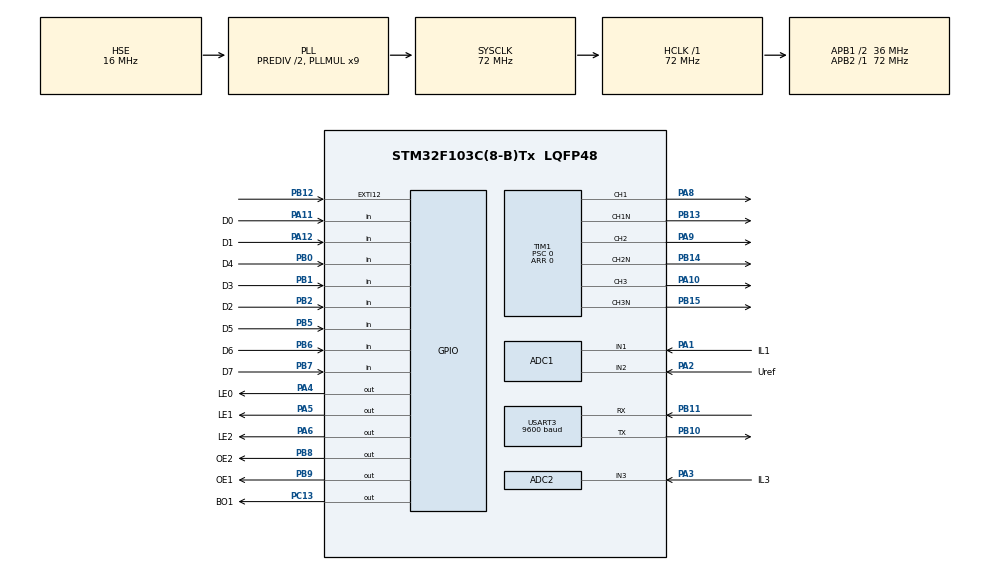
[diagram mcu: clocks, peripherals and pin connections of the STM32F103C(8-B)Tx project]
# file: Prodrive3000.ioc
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ADC1.Channel-0\#ChannelRegularConversion=ADC_CHANNEL_1
ADC1.Channel-1\#ChannelRegularConversion=ADC_CHANNEL_2
ADC1.ContinuousConvMode=DISABLE
ADC1.DataAlign=ADC_DATAALIGN_RIGHT
ADC1.DiscontinuousConvMode=DISABLE
ADC1.EnableAnalogWatchDog=false
ADC1.EnableRegularConversion=ENABLE
ADC1.ExternalTrigConv=ADC_SOFTWARE_START
ADC1.InjNumberOfConversion=0
ADC1.Mode=ADC_DUALMODE_REGSIMULT
ADC1.NbrOfConversion=2
ADC1.NbrOfConversionFlag=1
ADC1.Rank-0\#ChannelRegularConversion=1
ADC1.Rank-1\#ChannelRegularConversion=2
ADC1.SamplingTime-0\#ChannelRegularConversion=ADC_SAMPLETIME_55CYCLES_5
ADC1.SamplingTime-1\#ChannelRegularConversion=ADC_SAMPLETIME_55CYCLES_5
ADC1.ScanConvMode=ADC_SCAN_ENABLE
ADC1.master=1
ADC2.Channel-29\#ChannelRegularConversion=ADC_CHANNEL_3
ADC2.Channel-30\#ChannelRegularConversion=ADC_CHANNEL_3
ADC2.ContinuousConvMode=DISABLE
ADC2.DataAlign=ADC_DATAALIGN_RIGHT
ADC2.DiscontinuousConvMode=DISABLE
ADC2.EnableAnalogWatchDog=false
ADC2.EnableRegularConversion=ENABLE
ADC2.InjNumberOfConversion=0
ADC2.Mode=ADC_DUALMODE_REGSIMULT
ADC2.NbrOfConversion=2
ADC2.NbrOfConversionFlag=1
ADC2.Rank-29\#ChannelRegularConversion=1
ADC2.Rank-30\#ChannelRegularConversion=2
ADC2.SamplingTime-29\#ChannelRegularConversion=ADC_SAMPLETIME_55CYCLES_5
ADC2.SamplingTime-30\#ChannelRegularConversion=ADC_SAMPLETIME_55CYCLES_5
ADC2.ScanConvMode=ADC_SCAN_ENABLE
Dma.ADC1.0.Direction=DMA_PERIPH_TO_MEMORY
Dma.ADC1.0.Instance=DMA1_Channel1
Dma.ADC1.0.MemDataAlignment=DMA_MDATAALIGN_WORD
Dma.ADC1.0.MemInc=DMA_MINC_ENABLE
Dma.ADC1.0.Mode=DMA_CIRCULAR
Dma.ADC1.0.PeriphDataAlignment=DMA_PDATAALIGN_WORD
Dma.ADC1.0.PeriphInc=DMA_PINC_DISABLE
Dma.ADC1.0.Priority=DMA_PRIORITY_HIGH
Dma.Request0=ADC1
Dma.Request1=USART3_RX
Dma.USART3_RX.1.Direction=DMA_PERIPH_TO_MEMORY
Dma.USART3_RX.1.Instance=DMA1_Channel3
Dma.USART3_RX.1.MemDataAlignment=DMA_MDATAALIGN_BYTE
Dma.USART3_RX.1.MemInc=DMA_MINC_ENABLE
Dma.USART3_RX.1.Mode=DMA_CIRCULAR
Dma.USART3_RX.1.PeriphDataAlignment=DMA_PDATAALIGN_BYTE
Dma.USART3_RX.1.PeriphInc=DMA_PINC_DISABLE
Dma.USART3_RX.1.Priority=DMA_PRIORITY_LOW
FREERTOS.BinarySemaphores01=PhaseOverCurrentSem,Dynamic,NULL;PhaseCurrentRiseSem,Dynamic,NULL;DCOverCurrentSem,Dynamic,NULL
FREERTOS.HEAP_NUMBER=1
FREERTOS.INCLUDE_uxTaskPriorityGet=0
FREERTOS.INCLUDE_vTaskDelayUntil=1
FREERTOS.INCLUDE_vTaskDelete=0
FREERTOS.INCLUDE_vTaskPrioritySet=0
FREERTOS.INCLUDE_vTaskSuspend=0
FREERTOS.INCLUDE_xTaskResumeFromISR=0
FREERTOS.Queues01=MotorDataQueue,1,MOTOR_Data,0,Dynamic,NULL,NULL;MotorTargetQueue,1,MOTOR_Target,0,Dynamic,NULL,NULL;CurrentsQueue,1,SENSOR_InstCurrents,0,Dynamic,NULL,NULL;SettingQueue,1,SETTING_Values,0,Dynamic,NULL,NULL;PWMQueue,1,MOTOR_PWMData,0,Dynamic,NULL,NULL;RXDataQueue,1,SENSOR_RXData,0,Dynamic,NULL,NULL
FREERTOS.Tasks01=HmiTask,0,512,Hmi,Default,NULL,Dynamic,NULL,NULL;MotorTask,2,1024,Motor,Default,NULL,Dynamic,NULL,NULL
FREERTOS.configTOTAL_HEAP_SIZE=10000
Mcu.Family=STM32F1
Mcu.Name=STM32F103C(8-B)Tx
Mcu.Package=LQFP48
NVIC.ADC1_2_IRQn=true\:10\:0\:true\:false\:true\:true\:true
NVIC.DMA1_Channel1_IRQn=true\:10\:0\:true\:false\:true\:true\:false
NVIC.DMA1_Channel3_IRQn=true\:5\:0\:false\:false\:true\:true\:false
NVIC.EXTI15_10_IRQn=true\:5\:0\:true\:false\:true\:true\:true
NVIC.PriorityGroup=NVIC_PRIORITYGROUP_4
NVIC.TIM1_UP_IRQn=true\:5\:0\:false\:false\:true\:true\:true
NVIC.TIM2_IRQn=true\:0\:0\:false\:false\:true\:false\:false
NVIC.TIM4_IRQn=true\:10\:0\:true\:false\:true\:true\:true
NVIC.TimeBase=TIM2_IRQn
NVIC.TimeBaseIP=TIM2
NVIC.USART3_IRQn=true\:15\:0\:true\:false\:true\:true\:true
PA1.GPIO_Label=IL1
PA1.Signal=ADCx_IN1
PA10.GPIO_ModeDefaultPP=GPIO_MODE_AF_PP
PA10.GPIO_Speed=GPIO_SPEED_FREQ_HIGH
PA10.Signal=S_TIM1_CH3
PA11.GPIO_Label=D0
PA11.Signal=GPIO_Input
PA12.GPIO_Label=D1
PA12.Signal=GPIO_Input
PA13.Mode=JTAG_5_pins
PA13.Signal=SYS_JTMS-SWDIO
PA14.Mode=JTAG_5_pins
PA14.Signal=SYS_JTCK-SWCLK
PA15.Mode=JTAG_5_pins
PA15.Signal=SYS_JTDI
PA2.GPIO_Label=Uref
PA2.Signal=ADCx_IN2
PA3.GPIO_Label=IL3
PA3.Signal=ADCx_IN3
PA4.GPIO_Label=LE0
PA4.GPIO_ModeDefaultOutputPP=GPIO_MODE_OUTPUT_PP
PA4.Signal=GPIO_Output
PA5.GPIO_Label=LE1
PA5.GPIO_ModeDefaultOutputPP=GPIO_MODE_OUTPUT_PP
PA5.Signal=GPIO_Output
PA6.GPIO_Label=LE2
PA6.GPIO_ModeDefaultOutputPP=GPIO_MODE_OUTPUT_PP
PA6.Signal=GPIO_Output
PA8.GPIO_ModeDefaultPP=GPIO_MODE_AF_PP
PA8.GPIO_Speed=GPIO_SPEED_FREQ_HIGH
PA8.Signal=S_TIM1_CH1
PA9.GPIO_ModeDefaultPP=GPIO_MODE_AF_PP
PA9.GPIO_Speed=GPIO_SPEED_FREQ_HIGH
PA9.Signal=S_TIM1_CH2
PB0.GPIO_Label=D4
PB0.Signal=GPIO_Input
PB1.GPIO_Label=D3
PB1.Signal=GPIO_Input
PB10.Mode=Asynchronous
PB10.Signal=USART3_TX
PB11.Mode=Asynchronous
PB11.Signal=USART3_RX
PB12.GPIO_ModeDefaultEXTI=GPIO_MODE_IT_RISING
PB12.Signal=GPXTI12
PB13.GPIO_ModeDefaultPP=GPIO_MODE_AF_PP
PB13.GPIO_Speed=GPIO_SPEED_FREQ_HIGH
PB13.Mode=PWM Generation1 CH1 CH1N
PB13.Signal=TIM1_CH1N
PB14.GPIO_ModeDefaultPP=GPIO_MODE_AF_PP
PB14.GPIO_Speed=GPIO_SPEED_FREQ_HIGH
PB14.Mode=PWM Generation2 CH2 CH2N
PB14.Signal=TIM1_CH2N
PB15.GPIO_ModeDefaultPP=GPIO_MODE_AF_PP
PB15.GPIO_Speed=GPIO_SPEED_FREQ_HIGH
PB15.Mode=PWM Generation3 CH3 CH3N
PB15.Signal=TIM1_CH3N
PB2.GPIO_Label=D2
PB2.Signal=GPIO_Input
PB3.Mode=JTAG_5_pins
PB3.Signal=SYS_JTDO-TRACESWO
PB4.Mode=JTAG_5_pins
PB4.Signal=SYS_NJTRST
PB5.GPIO_Label=D5
PB5.Signal=GPIO_Input
PB6.GPIO_Label=D6
PB6.Signal=GPIO_Input
PB7.GPIO_Label=D7
PB7.Signal=GPIO_Input
PB8.GPIO_Label=OE2
PB8.GPIO_ModeDefaultOutputPP=GPIO_MODE_OUTPUT_OD
PB8.PinState=GPIO_PIN_SET
PB8.Signal=GPIO_Output
PB9.GPIO_Label=OE1
PB9.GPIO_ModeDefaultOutputPP=GPIO_MODE_OUTPUT_OD
PB9.PinState=GPIO_PIN_SET
PB9.Signal=GPIO_Output
PC13-TAMPER-RTC.GPIO_Label=BO1
PC13-TAMPER-RTC.GPIO_ModeDefaultOutputPP=GPIO_MODE_OUTPUT_OD
PC13-TAMPER-RTC.GPIO_Speed=GPIO_SPEED_FREQ_MEDIUM
PC13-TAMPER-RTC.PinState=GPIO_PIN_SET
PC13-TAMPER-RTC.Signal=GPIO_Output
PD0-OSC_IN.Mode=HSE-External-Oscillator
PD0-OSC_IN.Signal=RCC_OSC_IN
PD1-OSC_OUT.Mode=HSE-External-Oscillator
PD1-OSC_OUT.Signal=RCC_OSC_OUT
ProjectManager.HeapSize=0x200
ProjectManager.StackSize=0x400
ProjectManager.TargetToolchain=TrueSTUDIO
RCC.ADCPresc=RCC_ADCPCLK2_DIV6
RCC.AHBFreq_Value=72000000
RCC.APB1CLKDivider=RCC_HCLK_DIV2
RCC.APB1Freq_Value=36000000
RCC.APB1TimFreq_Value=72000000
RCC.APB2Freq_Value=72000000
RCC.APB2TimFreq_Value=72000000
RCC.EnbaleCSS=true
RCC.HCLKFreq_Value=72000000
RCC.HSEDivPLL=RCC_HSE_PREDIV_DIV2
RCC.HSE_VALUE=16000000
RCC.PLLMUL=RCC_PLL_MUL9
RCC.PLLSourceVirtual=RCC_PLLSOURCE_HSE
RCC.RTCClockSelection=RCC_RTCCLKSOURCE_LSE
RCC.SYSCLKFreq_VALUE=72000000
RCC.SYSCLKSource=RCC_SYSCLKSOURCE_PLLCLK
RCC.USBFreq_Value=72000000
SH.ADCx_IN1.0=ADC1_IN1,IN1
SH.ADCx_IN2.0=ADC1_IN2,IN2
SH.ADCx_IN3.0=ADC2_IN3,IN3
SH.S_TIM1_CH1.0=TIM1_CH1,PWM Generation1 CH1 CH1N
SH.S_TIM1_CH2.0=TIM1_CH2,PWM Generation2 CH2 CH2N
SH.S_TIM1_CH3.0=TIM1_CH3,PWM Generation3 CH3 CH3N
TIM1.AutoReloadPreload=TIM_AUTORELOAD_PRELOAD_DISABLE
TIM1.AutomaticOutput=TIM_AUTOMATICOUTPUT_DISABLE
TIM1.BreakPolarity=TIM_BREAKPOLARITY_HIGH
TIM1.BreakState=TIM_BREAK_DISABLE
TIM1.Channel-PWM\ Generation1\ CH1\ CH1N=TIM_CHANNEL_1
TIM1.Channel-PWM\ Generation2\ CH2\ CH2N=TIM_CHANNEL_2
TIM1.Channel-PWM\ Generation3\ CH3\ CH3N=TIM_CHANNEL_3
TIM1.ClockDivision=TIM_CLOCKDIVISION_DIV1
TIM1.CounterMode=TIM_COUNTERMODE_CENTERALIGNED3
TIM1.DeadTime=72
TIM1.OCIdleState_1=TIM_OCIDLESTATE_RESET
TIM1.OCIdleState_2=TIM_OCIDLESTATE_RESET
TIM1.OCIdleState_3=TIM_OCIDLESTATE_RESET
TIM1.OCNIdleState_1=TIM_OCNIDLESTATE_RESET
TIM1.OCNIdleState_2=TIM_OCNIDLESTATE_RESET
TIM1.OCNIdleState_3=TIM_OCNIDLESTATE_RESET
TIM1.OCNPolarity_1=TIM_OCNPOLARITY_LOW
TIM1.OCNPolarity_2=TIM_OCNPOLARITY_LOW
TIM1.OCNPolarity_3=TIM_OCNPOLARITY_LOW
TIM1.OCPolarity_1=TIM_OCPOLARITY_LOW
TIM1.OCPolarity_2=TIM_OCPOLARITY_LOW
TIM1.OCPolarity_3=TIM_OCPOLARITY_LOW
TIM1.OffStateIDLEMode=TIM_OSSI_DISABLE
TIM1.OffStateRunMode=TIM_OSSR_DISABLE
TIM1.Period=0
TIM1.Prescaler=0
TIM1.Pulse-PWM\ Generation1\ CH1\ CH1N=0
TIM1.Pulse-PWM\ Generation2\ CH2\ CH2N=0
TIM1.Pulse-PWM\ Generation3\ CH3\ CH3N=0
TIM1.RepetitionCounter=1
TIM1.TIM_MasterOutputTrigger=TIM_TRGO_RESET
TIM4.Period=0
TIM4.Prescaler=0
TIM4.TIM_MasterOutputTrigger=TIM_TRGO_RESET
USART3.BaudRate=9600
USART3.Mode=MODE_RX
USART3.Parity=PARITY_NONE
USART3.VirtualMode=VM_ASYNC
USART3.WordLength=WORDLENGTH_8B
VP_FREERTOS_VS_ENABLE.Mode=Enabled
VP_SYS_VS_tim2.Mode=TIM2
VP_TIM1_VS_ClockSourceINT.Mode=Internal
VP_TIM4_VS_ClockSourceINT.Mode=Internal
board=custom

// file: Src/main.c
/**
  ******************************************************************************
  * @file           : main.c
  * @brief          : Main program body
  ******************************************************************************
  * This notice applies to any and all portions of this file
  * that are not between comment pairs USER CODE BEGIN and
  * USER CODE END. Other portions of this file, whether
  * inserted by the user or by software development tools
  * are owned by their respective copyright owners.
  *
  * Copyright (c) 2020 STMicroelectronics International N.V.
  * All rights reserved.
  *
  * Redistribution and use in source and binary forms, with or without
  * modification, are permitted, provided that the following conditions are met:
  *
  * 1. Redistribution of source code must retain the above copyright notice,
  *    this list of conditions and the following disclaimer.
  * 2. Redistributions in binary form must reproduce the above copyright notice,
  *    this list of conditions and the following disclaimer in the documentation
  *    and/or other materials provided with the distribution.
  * 3. Neither the name of STMicroelectronics nor the names of other
  *    contributors to this software may be used to endorse or promote products
  *    derived from this software without specific written permission.
  * 4. This software, including modifications and/or derivative works of this
  *    software, must execute solely and exclusively on microcontroller or
  *    microprocessor devices manufactured by or for STMicroelectronics.
  * 5. Redistribution and use of this software other than as permitted under
  *    this license is void and will automatically terminate your rights under
  *    this license.
  *
  * THIS SOFTWARE IS PROVIDED BY STMICROELECTRONICS AND CONTRIBUTORS "AS IS"
  * AND ANY EXPRESS, IMPLIED OR STATUTORY WARRANTIES, INCLUDING, BUT NOT
  * LIMITED TO, THE IMPLIED WARRANTIES OF MERCHANTABILITY, FITNESS FOR A
  * PARTICULAR PURPOSE AND NON-INFRINGEMENT OF THIRD PARTY INTELLECTUAL PROPERTY
  * RIGHTS ARE DISCLAIMED TO THE FULLEST EXTENT PERMITTED BY LAW. IN NO EVENT
  * SHALL STMICROELECTRONICS OR CONTRIBUTORS BE LIABLE FOR ANY DIRECT, INDIRECT,
  * INCIDENTAL, SPECIAL, EXEMPLARY, OR CONSEQUENTIAL DAMAGES (INCLUDING, BUT NOT
  * LIMITED TO, PROCUREMENT OF SUBSTITUTE GOODS OR SERVICES; LOSS OF USE, DATA,
  * OR PROFITS; OR BUSINESS INTERRUPTION) HOWEVER CAUSED AND ON ANY THEORY OF
  * LIABILITY, WHETHER IN CONTRACT, STRICT LIABILITY, OR TORT (INCLUDING
  * NEGLIGENCE OR OTHERWISE) ARISING IN ANY WAY OUT OF THE USE OF THIS SOFTWARE,
  * EVEN IF ADVISED OF THE POSSIBILITY OF SUCH DAMAGE.
  *
  ******************************************************************************
  */
#include "main.h"
#include "stm32f1xx_hal.h"
#include "cmsis_os.h"

/* USER CODE BEGIN Includes */

#include "period_config.h"
#include "input.h"
#include "button.h"
#include "encoder.h"
#include "hmi.h"
#include "display.h"
#include "motor.h"
#include "protection.h"

/* USER CODE END Includes */

ADC_HandleTypeDef hadc1;
ADC_HandleTypeDef hadc2;
DMA_HandleTypeDef hdma_adc1;

TIM_HandleTypeDef htim1;
TIM_HandleTypeDef htim4;

UART_HandleTypeDef huart3;
DMA_HandleTypeDef hdma_usart3_rx;

osThreadId HmiTaskHandle;
osThreadId MotorTaskHandle;
osMessageQId MotorDataQueueHandle;
osMessageQId MotorTargetQueueHandle;
osMessageQId CurrentsQueueHandle;
osMessageQId SettingQueueHandle;
osMessageQId PWMQueueHandle;
osMessageQId RXDataQueueHandle;
osSemaphoreId PhaseOverCurrentSemHandle;
osSemaphoreId PhaseCurrentRiseSemHandle;
osSemaphoreId DCOverCurrentSemHandle;

/* USER CODE BEGIN PV */
/* Private variables ---------------------------------------------------------*/

/* Variables for current measure */
uint32_t glCurrentsSendingCnt = 0;
uint32_t const glCurrentsSendingPeriod = PERIOD_CONF_CURRENTS_SENDING_MS;
SENSOR_ADCvalues glADCvalues;
SENSOR_CurrentsStruct glCurrents;
SENSOR_InstCurrents glInstCurrents;
uint16_t glUpperThrdIL1 = 1;
uint16_t glUpperThrdIL3 = 1;

/* Variables for USART */
SENSOR_RXData glRXData;

/* Variables for PWM algorithm */
uint8_t glSectorNumber = 1;
float gltheta1 = 0;

/************************************** TEMP VARIABLES **************************************/
SENSOR_Values glSensorValues;
PROTECTION_Counters glProtCounters;
PROTECTION_ThermalData glThermalData;

MOTOR_State glMotorState;
MOTOR_PWMData glPWMData;

/********************************************************************************************/

/* USER CODE END PV */

void SystemClock_Config(void);
static void MX_GPIO_Init(void);
static void MX_DMA_Init(void);
static void MX_ADC1_Init(void);
static void MX_USART3_UART_Init(void);
static void MX_TIM1_Init(void);
static void MX_ADC2_Init(void);
static void MX_TIM4_Init(void);
void Hmi(void const * argument);
void Motor(void const * argument);

void HAL_TIM_MspPostInit(TIM_HandleTypeDef *htim);

/* USER CODE BEGIN PFP */
/* Private function prototypes -----------------------------------------------*/

/* External interrupt line detection callback */
void HAL_GPIO_EXTI_Callback(uint16_t GPIO_Pin);

/* ADC conversion complete callback in non blocking mode */
void HAL_ADC_ConvCpltCallback(ADC_HandleTypeDef* hadc);

/* Period elapsed callback in non blocking mode */
void HAL_TIM_PeriodElapsedCallback(TIM_HandleTypeDef *htim);

/*Rx Transfer completed callback */
void HAL_UART_RxCpltCallback(UART_HandleTypeDef *huart);

/* UART error callback */
void HAL_UART_ErrorCallback(UART_HandleTypeDef *huart);

/* USER CODE END PFP */

int main(void)
{

  /* MCU Configuration----------------------------------------------------------*/

  /* Reset of all peripherals, Initializes the Flash interface and the Systick. */
  HAL_Init();

  /* Configure the system clock */
  SystemClock_Config();

  /* Initialize all configured peripherals */
  MX_GPIO_Init();
  MX_DMA_Init();
  MX_ADC1_Init();
  MX_USART3_UART_Init();
  MX_TIM1_Init();
  MX_ADC2_Init();
  MX_TIM4_Init();

  /* Create the semaphores(s) */
  /* definition and creation of PhaseOverCurrentSem */
  osSemaphoreDef(PhaseOverCurrentSem);
  PhaseOverCurrentSemHandle = osSemaphoreCreate(osSemaphore(PhaseOverCurrentSem), 1);

  /* definition and creation of PhaseCurrentRiseSem */
  osSemaphoreDef(PhaseCurrentRiseSem);
  PhaseCurrentRiseSemHandle = osSemaphoreCreate(osSemaphore(PhaseCurrentRiseSem), 1);

  /* definition and creation of DCOverCurrentSem */
  osSemaphoreDef(DCOverCurrentSem);
  DCOverCurrentSemHandle = osSemaphoreCreate(osSemaphore(DCOverCurrentSem), 1);

  /* Create the thread(s) */
  /* definition and creation of HmiTask */
  osThreadDef(HmiTask, Hmi, osPriorityNormal, 0, 512);
  HmiTaskHandle = osThreadCreate(osThread(HmiTask), NULL);

  /* definition and creation of MotorTask */
  osThreadDef(MotorTask, Motor, osPriorityHigh, 0, 1024);
  MotorTaskHandle = osThreadCreate(osThread(MotorTask), NULL);

  /* Create the queue(s) */
  /* definition and creation of MotorDataQueue */
/* what about the sizeof here??? cd native code */
  osMessageQDef(MotorDataQueue, 1, MOTOR_Data);
  MotorDataQueueHandle = osMessageCreate(osMessageQ(MotorDataQueue), NULL);

  /* definition and creation of MotorTargetQueue */
/* what about the sizeof here??? cd native code */
  osMessageQDef(MotorTargetQueue, 1, MOTOR_Target);
  MotorTargetQueueHandle = osMessageCreate(osMessageQ(MotorTargetQueue), NULL);

  /* definition and creation of CurrentsQueue */
/* what about the sizeof here??? cd native code */
  osMessageQDef(CurrentsQueue, 1, SENSOR_InstCurrents);
  CurrentsQueueHandle = osMessageCreate(osMessageQ(CurrentsQueue), NULL);

  /* definition and creation of SettingQueue */
/* what about the sizeof here??? cd native code */
  osMessageQDef(SettingQueue, 1, SETTING_Values);
  SettingQueueHandle = osMessageCreate(osMessageQ(SettingQueue), NULL);

  /* definition and creation of PWMQueue */
/* what about the sizeof here??? cd native code */
  osMessageQDef(PWMQueue, 1, MOTOR_PWMData);
  PWMQueueHandle = osMessageCreate(osMessageQ(PWMQueue), NULL);

  /* definition and creation of RXDataQueue */
/* what about the sizeof here??? cd native code */
  osMessageQDef(RXDataQueue, 1, SENSOR_RXData);
  RXDataQueueHandle = osMessageCreate(osMessageQ(RXDataQueue), NULL);

  /* Start scheduler */
  osKernelStart();

  /* We should never get here as control is now taken by the scheduler */

  /* Infinite loop */
  while (1)
  {

  }

}

void SystemClock_Config(void)
{

  RCC_OscInitTypeDef RCC_OscInitStruct;
  RCC_ClkInitTypeDef RCC_ClkInitStruct;
  RCC_PeriphCLKInitTypeDef PeriphClkInit;

    /**Initializes the CPU, AHB and APB busses clocks
    */
  RCC_OscInitStruct.OscillatorType = RCC_OSCILLATORTYPE_HSE;
  RCC_OscInitStruct.HSEState = RCC_HSE_ON;
  RCC_OscInitStruct.HSEPredivValue = RCC_HSE_PREDIV_DIV2;
  RCC_OscInitStruct.HSIState = RCC_HSI_ON;
  RCC_OscInitStruct.PLL.PLLState = RCC_PLL_ON;
  RCC_OscInitStruct.PLL.PLLSource = RCC_PLLSOURCE_HSE;
  RCC_OscInitStruct.PLL.PLLMUL = RCC_PLL_MUL9;
  if (HAL_RCC_OscConfig(&RCC_OscInitStruct) != HAL_OK)
  {
    _Error_Handler(__FILE__, __LINE__);
  }

    /**Initializes the CPU, AHB and APB busses clocks
    */
  RCC_ClkInitStruct.ClockType = RCC_CLOCKTYPE_HCLK|RCC_CLOCKTYPE_SYSCLK
                              |RCC_CLOCKTYPE_PCLK1|RCC_CLOCKTYPE_PCLK2;
  RCC_ClkInitStruct.SYSCLKSource = RCC_SYSCLKSOURCE_PLLCLK;
  RCC_ClkInitStruct.AHBCLKDivider = RCC_SYSCLK_DIV1;
  RCC_ClkInitStruct.APB1CLKDivider = RCC_HCLK_DIV2;
  RCC_ClkInitStruct.APB2CLKDivider = RCC_HCLK_DIV1;

  if (HAL_RCC_ClockConfig(&RCC_ClkInitStruct, FLASH_LATENCY_2) != HAL_OK)
  {
    _Error_Handler(__FILE__, __LINE__);
  }

  PeriphClkInit.PeriphClockSelection = RCC_PERIPHCLK_ADC;
  PeriphClkInit.AdcClockSelection = RCC_ADCPCLK2_DIV6;
  if (HAL_RCCEx_PeriphCLKConfig(&PeriphClkInit) != HAL_OK)
  {
    _Error_Handler(__FILE__, __LINE__);
  }

    /**Enables the Clock Security System
    */
  HAL_RCC_EnableCSS();

    /**Configure the Systick interrupt time
    */
  HAL_SYSTICK_Config(HAL_RCC_GetHCLKFreq()/1000);

    /**Configure the Systick
    */
  HAL_SYSTICK_CLKSourceConfig(SYSTICK_CLKSOURCE_HCLK);

  /* SysTick_IRQn interrupt configuration */
  HAL_NVIC_SetPriority(SysTick_IRQn, 15, 0);
}

/* ADC1 init function */
static void MX_ADC1_Init(void)
{

  ADC_MultiModeTypeDef multimode;
  ADC_ChannelConfTypeDef sConfig;

    /**Common config
    */
  hadc1.Instance = ADC1;
  hadc1.Init.ScanConvMode = ADC_SCAN_ENABLE;
  hadc1.Init.ContinuousConvMode = DISABLE;
  hadc1.Init.DiscontinuousConvMode = DISABLE;
  hadc1.Init.ExternalTrigConv = ADC_SOFTWARE_START;
  hadc1.Init.DataAlign = ADC_DATAALIGN_RIGHT;
  hadc1.Init.NbrOfConversion = 2;
  if (HAL_ADC_Init(&hadc1) != HAL_OK)
  {
    _Error_Handler(__FILE__, __LINE__);
  }

    /**Configure the ADC multi-mode
    */
  multimode.Mode = ADC_DUALMODE_REGSIMULT;
  if (HAL_ADCEx_MultiModeConfigChannel(&hadc1, &multimode) != HAL_OK)
  {
    _Error_Handler(__FILE__, __LINE__);
  }

    /**Configure Regular Channel
    */
  sConfig.Channel = ADC_CHANNEL_1;
  sConfig.Rank = ADC_REGULAR_RANK_1;
  sConfig.SamplingTime = ADC_SAMPLETIME_55CYCLES_5;
  if (HAL_ADC_ConfigChannel(&hadc1, &sConfig) != HAL_OK)
  {
    _Error_Handler(__FILE__, __LINE__);
  }

    /**Configure Regular Channel
    */
  sConfig.Channel = ADC_CHANNEL_2;
  sConfig.Rank = ADC_REGULAR_RANK_2;
  if (HAL_ADC_ConfigChannel(&hadc1, &sConfig) != HAL_OK)
  {
    _Error_Handler(__FILE__, __LINE__);
  }

}

/* ADC2 init function */
static void MX_ADC2_Init(void)
{

  ADC_ChannelConfTypeDef sConfig;

    /**Common config
    */
  hadc2.Instance = ADC2;
  hadc2.Init.ScanConvMode = ADC_SCAN_ENABLE;
  hadc2.Init.ContinuousConvMode = DISABLE;
  hadc2.Init.DiscontinuousConvMode = DISABLE;
  hadc2.Init.ExternalTrigConv = ADC_SOFTWARE_START;
  hadc2.Init.DataAlign = ADC_DATAALIGN_RIGHT;
  hadc2.Init.NbrOfConversion = 2;
  if (HAL_ADC_Init(&hadc2) != HAL_OK)
  {
    _Error_Handler(__FILE__, __LINE__);
  }

    /**Configure Regular Channel
    */
  sConfig.Channel = ADC_CHANNEL_3;
  sConfig.Rank = ADC_REGULAR_RANK_1;
  sConfig.SamplingTime = ADC_SAMPLETIME_55CYCLES_5;
  if (HAL_ADC_ConfigChannel(&hadc2, &sConfig) != HAL_OK)
  {
    _Error_Handler(__FILE__, __LINE__);
  }

    /**Configure Regular Channel
    */
  sConfig.Rank = ADC_REGULAR_RANK_2;
  if (HAL_ADC_ConfigChannel(&hadc2, &sConfig) != HAL_OK)
  {
    _Error_Handler(__FILE__, __LINE__);
  }

}

/* TIM1 init function */
static void MX_TIM1_Init(void)
{

  TIM_ClockConfigTypeDef sClockSourceConfig;
  TIM_MasterConfigTypeDef sMasterConfig;
  TIM_OC_InitTypeDef sConfigOC;
  TIM_BreakDeadTimeConfigTypeDef sBreakDeadTimeConfig;

  htim1.Instance = TIM1;
  htim1.Init.Prescaler = 0;
  htim1.Init.CounterMode = TIM_COUNTERMODE_CENTERALIGNED3;
  htim1.Init.Period = 0;
  htim1.Init.ClockDivision = TIM_CLOCKDIVISION_DIV1;
  htim1.Init.RepetitionCounter = 1;
  htim1.Init.AutoReloadPreload = TIM_AUTORELOAD_PRELOAD_DISABLE;
  if (HAL_TIM_Base_Init(&htim1) != HAL_OK)
  {
    _Error_Handler(__FILE__, __LINE__);
  }

  sClockSourceConfig.ClockSource = TIM_CLOCKSOURCE_INTERNAL;
  if (HAL_TIM_ConfigClockSource(&htim1, &sClockSourceConfig) != HAL_OK)
  {
    _Error_Handler(__FILE__, __LINE__);
  }

  if (HAL_TIM_PWM_Init(&htim1) != HAL_OK)
  {
    _Error_Handler(__FILE__, __LINE__);
  }

  sMasterConfig.MasterOutputTrigger = TIM_TRGO_RESET;
  sMasterConfig.MasterSlaveMode = TIM_MASTERSLAVEMODE_DISABLE;
  if (HAL_TIMEx_MasterConfigSynchronization(&htim1, &sMasterConfig) != HAL_OK)
  {
    _Error_Handler(__FILE__, __LINE__);
  }

  sConfigOC.OCMode = TIM_OCMODE_PWM1;
  sConfigOC.Pulse = 0;
  sConfigOC.OCPolarity = TIM_OCPOLARITY_LOW;
  sConfigOC.OCNPolarity = TIM_OCNPOLARITY_LOW;
  sConfigOC.OCFastMode = TIM_OCFAST_DISABLE;
  sConfigOC.OCIdleState = TIM_OCIDLESTATE_RESET;
  sConfigOC.OCNIdleState = TIM_OCNIDLESTATE_RESET;
  if (HAL_TIM_PWM_ConfigChannel(&htim1, &sConfigOC, TIM_CHANNEL_1) != HAL_OK)
  {
    _Error_Handler(__FILE__, __LINE__);
  }

  if (HAL_TIM_PWM_ConfigChannel(&htim1, &sConfigOC, TIM_CHANNEL_2) != HAL_OK)
  {
    _Error_Handler(__FILE__, __LINE__);
  }

  if (HAL_TIM_PWM_ConfigChannel(&htim1, &sConfigOC, TIM_CHANNEL_3) != HAL_OK)
  {
    _Error_Handler(__FILE__, __LINE__);
  }

  sBreakDeadTimeConfig.OffStateRunMode = TIM_OSSR_DISABLE;
  sBreakDeadTimeConfig.OffStateIDLEMode = TIM_OSSI_DISABLE;
  sBreakDeadTimeConfig.LockLevel = TIM_LOCKLEVEL_OFF;
  sBreakDeadTimeConfig.DeadTime = 72;
  sBreakDeadTimeConfig.BreakState = TIM_BREAK_DISABLE;
  sBreakDeadTimeConfig.BreakPolarity = TIM_BREAKPOLARITY_HIGH;
  sBreakDeadTimeConfig.AutomaticOutput = TIM_AUTOMATICOUTPUT_DISABLE;
  if (HAL_TIMEx_ConfigBreakDeadTime(&htim1, &sBreakDeadTimeConfig) != HAL_OK)
  {
    _Error_Handler(__FILE__, __LINE__);
  }

  HAL_TIM_MspPostInit(&htim1);

}

/* TIM4 init function */
static void MX_TIM4_Init(void)
{

  TIM_ClockConfigTypeDef sClockSourceConfig;
  TIM_MasterConfigTypeDef sMasterConfig;

  htim4.Instance = TIM4;
  htim4.Init.Prescaler = 0;
  htim4.Init.CounterMode = TIM_COUNTERMODE_UP;
  htim4.Init.Period = 0;
  htim4.Init.ClockDivision = TIM_CLOCKDIVISION_DIV1;
  htim4.Init.AutoReloadPreload = TIM_AUTORELOAD_PRELOAD_DISABLE;
  if (HAL_TIM_Base_Init(&htim4) != HAL_OK)
  {
    _Error_Handler(__FILE__, __LINE__);
  }

  sClockSourceConfig.ClockSource = TIM_CLOCKSOURCE_INTERNAL;
  if (HAL_TIM_ConfigClockSource(&htim4, &sClockSourceConfig) != HAL_OK)
  {
    _Error_Handler(__FILE__, __LINE__);
  }

  sMasterConfig.MasterOutputTrigger = TIM_TRGO_RESET;
  sMasterConfig.MasterSlaveMode = TIM_MASTERSLAVEMODE_DISABLE;
  if (HAL_TIMEx_MasterConfigSynchronization(&htim4, &sMasterConfig) != HAL_OK)
  {
    _Error_Handler(__FILE__, __LINE__);
  }

}

/* USART3 init function */
static void MX_USART3_UART_Init(void)
{

  huart3.Instance = USART3;
  huart3.Init.BaudRate = 9600;
  huart3.Init.WordLength = UART_WORDLENGTH_8B;
  huart3.Init.StopBits = UART_STOPBITS_1;
  huart3.Init.Parity = UART_PARITY_NONE;
  huart3.Init.Mode = UART_MODE_RX;
  huart3.Init.HwFlowCtl = UART_HWCONTROL_NONE;
  huart3.Init.OverSampling = UART_OVERSAMPLING_16;
  if (HAL_UART_Init(&huart3) != HAL_OK)
  {
    _Error_Handler(__FILE__, __LINE__);
  }

}

static void MX_DMA_Init(void)
{
  /* DMA controller clock enable */
  __HAL_RCC_DMA1_CLK_ENABLE();

  /* DMA interrupt init */
  /* DMA1_Channel1_IRQn interrupt configuration */
  HAL_NVIC_SetPriority(DMA1_Channel1_IRQn, 10, 0);
  HAL_NVIC_EnableIRQ(DMA1_Channel1_IRQn);
  /* DMA1_Channel3_IRQn interrupt configuration */
  HAL_NVIC_SetPriority(DMA1_Channel3_IRQn, 5, 0);
  HAL_NVIC_EnableIRQ(DMA1_Channel3_IRQn);

}

/** Configure pins as
        * Analog
        * Input
        * Output
        * EVENT_OUT
        * EXTI
*/
static void MX_GPIO_Init(void)
{

  GPIO_InitTypeDef GPIO_InitStruct;

  /* GPIO Ports Clock Enable */
  __HAL_RCC_GPIOC_CLK_ENABLE();
  __HAL_RCC_GPIOD_CLK_ENABLE();
  __HAL_RCC_GPIOA_CLK_ENABLE();
  __HAL_RCC_GPIOB_CLK_ENABLE();

  /*Configure GPIO pin Output Level */
  HAL_GPIO_WritePin(BO1_GPIO_Port, BO1_Pin, GPIO_PIN_SET);

  /*Configure GPIO pin Output Level */
  HAL_GPIO_WritePin(GPIOA, LE0_Pin|LE1_Pin|LE2_Pin, GPIO_PIN_RESET);

  /*Configure GPIO pin Output Level */
  HAL_GPIO_WritePin(GPIOB, OE2_Pin|OE1_Pin, GPIO_PIN_SET);

  /*Configure GPIO pin : BO1_Pin */
  GPIO_InitStruct.Pin = BO1_Pin;
  GPIO_InitStruct.Mode = GPIO_MODE_OUTPUT_OD;
  GPIO_InitStruct.Pull = GPIO_NOPULL;
  GPIO_InitStruct.Speed = GPIO_SPEED_FREQ_MEDIUM;
  HAL_GPIO_Init(BO1_GPIO_Port, &GPIO_InitStruct);

  /*Configure GPIO pins : LE0_Pin LE1_Pin LE2_Pin */
  GPIO_InitStruct.Pin = LE0_Pin|LE1_Pin|LE2_Pin;
  GPIO_InitStruct.Mode = GPIO_MODE_OUTPUT_PP;
  GPIO_InitStruct.Pull = GPIO_NOPULL;
  GPIO_InitStruct.Speed = GPIO_SPEED_FREQ_LOW;
  HAL_GPIO_Init(GPIOA, &GPIO_InitStruct);

  /*Configure GPIO pins : D4_Pin D3_Pin D2_Pin D5_Pin
                           D6_Pin D7_Pin */
  GPIO_InitStruct.Pin = D4_Pin|D3_Pin|D2_Pin|D5_Pin
                          |D6_Pin|D7_Pin;
  GPIO_InitStruct.Mode = GPIO_MODE_INPUT;
  GPIO_InitStruct.Pull = GPIO_NOPULL;
  HAL_GPIO_Init(GPIOB, &GPIO_InitStruct);

  /*Configure GPIO pin : PB12 */
  GPIO_InitStruct.Pin = GPIO_PIN_12;
  GPIO_InitStruct.Mode = GPIO_MODE_IT_RISING;
  GPIO_InitStruct.Pull = GPIO_NOPULL;
  HAL_GPIO_Init(GPIOB, &GPIO_InitStruct);

  /*Configure GPIO pins : D0_Pin D1_Pin */
  GPIO_InitStruct.Pin = D0_Pin|D1_Pin;
  GPIO_InitStruct.Mode = GPIO_MODE_INPUT;
  GPIO_InitStruct.Pull = GPIO_NOPULL;
  HAL_GPIO_Init(GPIOA, &GPIO_InitStruct);

  /*Configure GPIO pins : OE2_Pin OE1_Pin */
  GPIO_InitStruct.Pin = OE2_Pin|OE1_Pin;
  GPIO_InitStruct.Mode = GPIO_MODE_OUTPUT_OD;
  GPIO_InitStruct.Pull = GPIO_NOPULL;
  GPIO_InitStruct.Speed = GPIO_SPEED_FREQ_LOW;
  HAL_GPIO_Init(GPIOB, &GPIO_InitStruct);

  /* EXTI interrupt init*/
  HAL_NVIC_SetPriority(EXTI15_10_IRQn, 5, 0);
  HAL_NVIC_EnableIRQ(EXTI15_10_IRQn);

}

/* USER CODE BEGIN 4 */

void HAL_GPIO_EXTI_Callback(uint16_t GPIO_Pin)
{
	/* Private variables */
	static portBASE_TYPE xHigherPriorityTaskWoken;
	xHigherPriorityTaskWoken = pdFALSE;

	/* External over current protection */
	/* If interrupt from pin 12 */
	if (GPIO_Pin == GPIO_PIN_12)
	{

		/* Stop modulator and give over current semaphore */
		//////////////////////////////////////////////////////////////////////////////////////////////////////////////////////MOTOR_StopPWM(&htim1);
		//////////////////////////////////////////////////////////////////////////////////////////////////////////////////////xSemaphoreGiveFromISR(DCOverCurrentSemHandle, &xHigherPriorityTaskWoken);

	}
}

void HAL_ADC_ConvCpltCallback(ADC_HandleTypeDef* hadc)
{
	/* Private variables */
	static portBASE_TYPE xHigherPriorityTaskWoken;
	xHigherPriorityTaskWoken = pdFALSE;

	PROTECTION_State ProtectionState1 = PROTECTION_TRIPPED, ProtectionState2 = PROTECTION_TRIPPED, ProtectionState3 = PROTECTION_TRIPPED, ProtectionState4 = PROTECTION_TRIPPED;

	/* If ADC1 conversion complete */
	if (hadc->Instance == ADC1)
	{
		/* Stop ADC */
		SENSOR_StopADC(&hadc1, &hadc2);

		/* Calculate instantaneous currents */
		SENSOR_CalculateInstCurrents(&glADCvalues, &glCurrents);

		/* Perform over current protection function for phase L1 and L3 */
		ProtectionState1 = PROTECTION_OverCurrent(glCurrents.currIL1, glUpperThrdIL1);
		ProtectionState2 = PROTECTION_OverCurrent(glCurrents.currIL3, glUpperThrdIL3);

		/* If protection tripped */
		if ((ProtectionState1 == PROTECTION_TRIPPED) || (ProtectionState2 == PROTECTION_TRIPPED))
		{
			/* Stop PWM and give semaphore */
			MOTOR_StopPWM(&htim1);
			xSemaphoreGiveFromISR(PhaseOverCurrentSemHandle, &xHigherPriorityTaskWoken);
		}
		else
		{
			/* Perform current rise protection function for phase L1 and L3 */
			ProtectionState3 = PROTECTION_CurrentRise(glCurrents.currIL1, glCurrents.prevIL1, PROT_CONF_CURRENT_RISE_LIMIT);
			ProtectionState4 = PROTECTION_CurrentRise(glCurrents.currIL3, glCurrents.prevIL3, PROT_CONF_CURRENT_RISE_LIMIT);

			/* If protection tripped */
			if ((ProtectionState3 == PROTECTION_TRIPPED) || (ProtectionState4 == PROTECTION_TRIPPED))
			{
				/* Stop PWM and give semaphore */
				MOTOR_StopPWM(&htim1);
				xSemaphoreGiveFromISR(PhaseCurrentRiseSemHandle, &xHigherPriorityTaskWoken);
			}
			else
			{
				/* Shift instantaneous currents buffer */
				for (uint16_t i = 0; i < (SENSOR_INST_CURR_BUFFER_SIZE - 1); i ++)
				{
					glInstCurrents.bufferIL1[i] = glInstCurrents.bufferIL1[i + 1];
					glInstCurrents.bufferIL3[i] = glInstCurrents.bufferIL3[i + 1];
				}

				/* Fill in last buffers element */
				glInstCurrents.Status = glCurrents.Status;
				glInstCurrents.bufferIL1[SENSOR_INST_CURR_BUFFER_SIZE - 1] = glCurrents.currIL1;
				glInstCurrents.bufferIL3[SENSOR_INST_CURR_BUFFER_SIZE - 1] = glCurrents.currIL3;

				/* If currents sending time has elapsed */
				if (glCurrentsSendingCnt >= glCurrentsSendingPeriod)
				{
					/* Send instantaneous currents to the queue */
					xQueueOverwriteFromISR(CurrentsQueueHandle, &glInstCurrents, &xHigherPriorityTaskWoken);

					glCurrentsSendingCnt = 0;
				}
				else glCurrentsSendingCnt ++;
			}
		}
	}
}

void HAL_UART_RxCpltCallback(UART_HandleTypeDef *huart)
{
	/* Private variables */
	static portBASE_TYPE xHigherPriorityTaskWoken;
	xHigherPriorityTaskWoken = pdFALSE;

	/* Send RXData to the queue */
	xQueueOverwriteFromISR(RXDataQueueHandle, &glRXData, &xHigherPriorityTaskWoken);
}

void HAL_UART_ErrorCallback(UART_HandleTypeDef *huart)
{
	/* Enable UART again */
	HAL_UART_Receive_DMA(&huart3, (uint8_t *)&glRXData, 5);
}

/* USER CODE END 4 */

/* Hmi function */
void Hmi(void const * argument)
{

  /* USER CODE BEGIN 5 */

	/* Create variable needed for the system function vTaskDelayUntil() */
	portTickType xLastWakeTime;

	/* Create private variables */
	portBASE_TYPE xMotorStateQueueStatus;
	INPUT_States InputStates;
	BUTTON_States ButtonStates;
	BUTTON_Counters ButtonCounters;
	BUTTON_Settings ButtonSettings;
	BUTTON_SafetyState SafetyState = BUTTON_SAFETY_RELEASED;
	BUTTON_LimitState FwdLimitState = BUTTON_LIMIT_RELEASED, RevLimitState = BUTTON_LIMIT_RELEASED;
	BUTTON_Direction ButtonDirection = BUTTON_FORWARD;
	BUTTON_Command ButtonCommand;
	BUTTON_Status ButtonStatus = BUTTON_NOT_CHANGED;
	ENCODER_Data EncoderData;
	ENCODER_Command EncoderCommand;
	ENCODER_Status EncoderStatus = ENCODER_NOT_CHANGED;
	MOTOR_Data MotorData;
	MOTOR_Target MotorTarget;
	SETTING_Values SettingValues;
	HMI_Status HMIStatus;
	RELAY_Data RelayData;

	/* Clear screen */
	DISPLAY_ShowEmptyScreen();

	/* Load settings */
	SETTING_Load(&SettingValues);

	/* Initialize buttons and encoder */
	BUTTON_Init(&ButtonStates, &ButtonCounters, &ButtonSettings, &InputStates, &SettingValues);
	ENCODER_Init(&EncoderData, &InputStates);

	/* Initialize HMI */
	HMI_Init(&HMIStatus, &SettingValues, &MotorTarget);

	/* Initialize relay */
	RELAY_Init(&RelayData, &SettingValues, PERIOD_CONF_HMI_TASK_MS);

	/* Send setting values to the queue */
	xQueueOverwrite(SettingQueueHandle, &SettingValues);

	/* Send motor target to the queue */
	xQueueOverwrite(MotorTargetQueueHandle, &MotorTarget);

	/* Wait for the main board to load */
	osDelay(5000);

	/* !!!!! Start of code that contains a critical section !!!!! */
	/* Scan inputs */
	INPUT_Scan(&InputStates);
	/* !!!!! End of code that contains a critical section !!!!! */

	osDelay(PERIOD_CONF_HMI_TASK_MS);

	xLastWakeTime = xTaskGetTickCount();

	/* Infinite loop */
	for(;;)
	{
		/* If drive is OK */
		if (HMIStatus.DriveState == HMI_DRIVE_OK)
		{

			/* !!!!! Start of code that contains a critical section !!!!! */
			/* Scan inputs */
			INPUT_Scan(&InputStates);
			/* !!!!! End of code that contains a critical section !!!!! */

			/* If drive in working mode */
			if (HMIStatus.SetupMode == HMI_WORK)
			{
				/************************************************* HANDLE SAFETY CONTACT ************************************************/
				/* Update button states */
				BUTTON_UpdateStates(&ButtonStates, &InputStates);

				/* Get safety contact state */
				SafetyState = BUTTON_GetSafetyState(&ButtonStates, &ButtonSettings);

				/* If safety contact not released */
				if (SafetyState != BUTTON_SAFETY_RELEASED)
				{
					/* Prepare and send motor target */
					MotorTarget.Mode = MOTOR_STOP_FAST;
					MotorTarget.speed = 0;
					xQueueOverwrite(MotorTargetQueueHandle, &MotorTarget);

					/* Switch to failure state */
					HMI_SwitchToFailure(&HMIStatus, MESSAGE_01);
				}
				/************************************************************************************************************************/

				/*************************************************** HANDLE MOTOR DATA **************************************************/
				/* If motor data time has elapsed */
				if (HMIStatus.motorDataCnt >= HMIStatus.motorDataPeriod)
				{
					HMIStatus.motorDataCnt = 0;

					/* Receive motor data from the motor control process */
					xMotorStateQueueStatus = xQueueReceive(MotorDataQueueHandle, &MotorData, 5);

					/* If can't receive motor data */
					if (xMotorStateQueueStatus != pdPASS)
					{
						/* Prepare and send motor target */
						MotorTarget.Mode = MOTOR_STOP_FREERUN;
						MotorTarget.speed = 0;
						xQueueOverwrite(MotorTargetQueueHandle, &MotorTarget);

						/* Switch to failure state */
						HMI_SwitchToFailure(&HMIStatus, MESSAGE_21);
					}
					else
					{
						/* If data is received and there is motor failure switch to failure state */
						if (MotorData.HealthState != MOTOR_OK) HMI_SwitchToFailure(&HMIStatus, (MotorData.MessageID));
					}
				}
				else HMIStatus.motorDataCnt ++;
				/************************************************************************************************************************/

				/************************************************ GET LIMIT CONTACT STATES **********************************************/
				/* Get forward limit contact state */
				FwdLimitState = BUTTON_GetFwdLimitState(&ButtonStates, &ButtonSettings);

				/* Get reverse limit contact state */
				RevLimitState = BUTTON_GetRevLimitState(&ButtonStates, &ButtonSettings);
				/************************************************************************************************************************/
			}

			/* If drive is OK */
			if (HMIStatus.DriveState == HMI_DRIVE_OK)
			{
				/*************************************************** HANDLE BUTTONS *****************************************************/
				/* If drive in working mode */
				if (HMIStatus.SetupMode == HMI_WORK)
				{
					/* Update mechanism movement direction */
					if (MotorData.MotorDirection == MOTOR_REVERSE) ButtonDirection = BUTTON_REVERSE;
					else ButtonDirection = BUTTON_FORWARD;

					/* Get command from buttons and handle it */
					ButtonStatus = BUTTON_GetCommand(&ButtonCommand, &ButtonStates, &ButtonCounters, ButtonDirection, &ButtonSettings);
					if (ButtonStatus == BUTTON_CHANGED) HMI_HandleButtons(ButtonCommand, &HMIStatus, &SettingValues, &MotorTarget);
				}
				/************************************************************************************************************************/

				/*************************************************** HANDLE ENCODER *****************************************************/
				/* Get command from encoder and handle it */
				EncoderStatus = ENCODER_GetCommand(&EncoderCommand, &EncoderData, &InputStates);
				if (EncoderStatus == ENCODER_CHANGED) HMI_HandleEncoder(EncoderCommand, &HMIStatus, &SettingValues, MotorData, &MotorTarget);
				/************************************************************************************************************************/

				/* Prepare and send motor target if necessary */
				if (HMIStatus.MotorUpdate == HMI_UPDATE_REQUIRED)
				{
					/* Update target settings if necessary */
					if (HMIStatus.SettingStatus != HMI_SETTING_UP_TO_DATE)
					{
						MotorTarget.accTime = (uint16_t)SETTING_GetValue(SETTING_ARRAY_01, 1, &SettingValues);
						MotorTarget.decTime = (uint16_t)SETTING_GetValue(SETTING_ARRAY_01, 2, &SettingValues);

						HMIStatus.SettingStatus = HMI_SETTING_UP_TO_DATE;
					}

					/* Send motor target to the queue */
					xQueueOverwrite(MotorTargetQueueHandle, &MotorTarget);

					HMIStatus.MotorUpdate = HMI_UPDATE_NOT_REQUIRED;
				}
			}
		}

		/**************************************************** HANDLE RELAY ******************************************************/

		HMI_HandleRelay(&HMIStatus, &MotorData, SafetyState, FwdLimitState, RevLimitState, &RelayData, &SettingValues);

		/************************************************************************************************************************/

		/************************************************** UPDATE DISPLAY ***************************************************/
		/* If display time has elapsed */
		if (HMIStatus.displayCnt >= HMIStatus.displayPeriod)
		{
			HMIStatus.displayCnt = 0;

			/* If menu opened update display every cycle */
			if (HMIStatus.ScreenType == HMI_MENU_SCREEN) HMIStatus.DisplayUpdate = HMI_UPDATE_REQUIRED;

			/* Update display if necessary */
			if (HMIStatus.DisplayUpdate == HMI_UPDATE_REQUIRED)
			{
				DISPLAY_Update(&HMIStatus, &SettingValues, &(MotorData.SensorHMIValues));
				HMIStatus.DisplayUpdate = HMI_UPDATE_NOT_REQUIRED;
			}
		}
		else HMIStatus.displayCnt ++;
		/*********************************************************************************************************************/

		osDelayUntil(&xLastWakeTime, PERIOD_CONF_HMI_TASK_MS);
	}

  /* USER CODE END 5 */
}

/* Motor function */
void Motor(void const * argument)
{
  /* USER CODE BEGIN Motor */

	/* Create variable needed for the system function vTaskDelayUntil() */
	portTickType xLastWakeTime;

	/* Create private variables */
	portBASE_TYPE xPhaseOverCurrentSemStatus = pdPASS, xPhaseCurrentRiseSemStatus = pdPASS, xDCOverCurrentSemStatus = pdPASS;
	SETTING_Values SettingValues;
	SENSOR_Values SensorValues;
	MESSAGE_ID MessageID = MESSAGE_01;
	PROTECTION_Counters ProtectionCounters;
	PROTECTION_ThermalData ThermalData;
	PROTECTION_State ProtectionState = PROTECTION_TRIPPED;
	MOTOR_State MotorState;
	MOTOR_Data MotorData;
	MOTOR_Target MotorTarget;
	MOTOR_PWMData PWMData;
	MOTOR_UpdatingStatus UpdatingStatus = MOTOR_UPDATING_FAIL;
	uint8_t initCnt = 0;

	/* Get setting values */
	xQueuePeek(SettingQueueHandle, &SettingValues, portMAX_DELAY);

	/* Get motor target */
	xQueuePeek(MotorTargetQueueHandle, &MotorTarget, portMAX_DELAY);

	/* Initialize variables */
	MOTOR_Init(&MotorState, &MotorData, &MotorTarget, &PWMData, &SettingValues);
	PROTECTION_Init(&ProtectionCounters, &ThermalData, &SettingValues);

	/* Enable USART */
	HAL_UART_Receive_DMA(&huart3, (uint8_t *)&glRXData, 5);

	/* Initialize current upper threshold */
	glUpperThrdIL1 = MOTOR_CalcCurrentUpperThrd(&SettingValues, SENSOR_ADC1_COEFF);
	glUpperThrdIL3 = MOTOR_CalcCurrentUpperThrd(&SettingValues, SENSOR_ADC2_COEFF);

	/* Calibrate ADC */
	osDelay(500);
	SENSOR_CalibrateADC(&hadc1, &hadc2);
	osDelay(500);

	/* Initialize and start timer used to drive the ADC */
	MOTOR_InitADCTimer(&htim4);
	HAL_TIM_Base_Start_IT(&htim4);
	osDelay(PERIOD_CONF_MOTOR_TASK_MS);

	/* Initialize timer used for PWM */
	MOTOR_InitPWMTimer(&htim1, MotorState.arrRegister);

	/* Reset semaphores */
	xSemaphoreTake(PhaseOverCurrentSemHandle, portMAX_DELAY);
	xSemaphoreTake(PhaseCurrentRiseSemHandle, portMAX_DELAY);
	xSemaphoreTake(DCOverCurrentSemHandle, portMAX_DELAY);

	/* Wait for main board initialize */
	osDelay(500);

	/* Update sensor values 128 times in order to fill in buffers of instantaneous values */
	do
	{
		UpdatingStatus = MOTOR_UpdateSensorValues(&SensorValues, &MotorState, &MessageID, CurrentsQueueHandle, RXDataQueueHandle);

		if (UpdatingStatus == MOTOR_UPDATING_OK) initCnt ++;

		osDelay(PERIOD_CONF_MOTOR_TASK_MS);
	}
	while (initCnt < 128);

	xLastWakeTime = xTaskGetTickCount();

	for(;;)
	{
		/* If motor OK */
		if (MotorData.HealthState == MOTOR_OK)
		{
			/* Try to take current protection semaphores */
			xPhaseOverCurrentSemStatus = xSemaphoreTake(PhaseOverCurrentSemHandle, 0);
			xPhaseCurrentRiseSemStatus = xSemaphoreTake(PhaseCurrentRiseSemHandle, 0);
			xDCOverCurrentSemStatus = xSemaphoreTake(DCOverCurrentSemHandle, 0);

			/* If phase over current semaphore is taken */
			if (xPhaseOverCurrentSemStatus != pdFALSE)
			{
				/* Stop PWM immediately */
				MOTOR_StopPWM(&htim1);

				/* Switch to failure state */
				MotorState.HealthState = MOTOR_FAILURE;
				MotorState.MessageID = MESSAGE_02;

				/* Update motor data and send it to the queue */
				MOTOR_UpdateData(&MotorData, &MotorState, &SensorValues, ThermalData.TCU);
				xQueueOverwrite(MotorDataQueueHandle, &MotorData);
			}

			/* If phase current rise semaphore is taken */
			else if (xPhaseCurrentRiseSemStatus != pdFALSE)
			{
				/* Stop PWM immediately */
				MOTOR_StopPWM(&htim1);

				/* Switch to failure state */
				MotorState.HealthState = MOTOR_FAILURE;
				MotorState.MessageID = MESSAGE_03;

				/* Update motor data and send it to the queue */
				MOTOR_UpdateData(&MotorData, &MotorState, &SensorValues, ThermalData.TCU);
				xQueueOverwrite(MotorDataQueueHandle, &MotorData);
			}

			/* If DC current rise semaphore is taken */
			else if (xDCOverCurrentSemStatus != pdFALSE)
			{
				/* Stop PWM immediately */
				MOTOR_StopPWM(&htim1);

				/* Switch to failure state */
				MotorState.HealthState = MOTOR_FAILURE;
				MotorState.MessageID = MESSAGE_04;

				/* Update motor data and send it to the queue */
				MOTOR_UpdateData(&MotorData, &MotorState, &SensorValues, ThermalData.TCU);
				xQueueOverwrite(MotorDataQueueHandle, &MotorData);
			}

			/* If no one semaphore is taken */
			else
			{
				/* Update sensor values */
				UpdatingStatus = MOTOR_UpdateSensorValues(&SensorValues, &MotorState, &MessageID, CurrentsQueueHandle, RXDataQueueHandle);

				/* If updating fail */
				if (UpdatingStatus != MOTOR_UPDATING_OK)
				{
					/* Stop PWM immediately */
					MOTOR_StopPWM(&htim1);

					/* Switch to failure state */
					MotorState.HealthState = MOTOR_FAILURE;
					MotorState.MessageID = MessageID;

					/* Update motor data and send it to the queue */
					MOTOR_UpdateData(&MotorData, &MotorState, &SensorValues, ThermalData.TCU);
					xQueueOverwrite(MotorDataQueueHandle, &MotorData);
				}
				else
				{
					/* Execute protection function */
					ProtectionState = PROTECTION_MotorProt(&ProtectionCounters, &ThermalData, &MessageID, &SensorValues);

					/* If protection not released */
					if (ProtectionState != PROTECTION_RELEASED)
					{
						/* Stop PWM immediately */
						MOTOR_StopPWM(&htim1);

						/* Switch to failure state */
						MotorState.HealthState = MOTOR_FAILURE;
						MotorState.MessageID = MessageID;

						/* Update motor data and send it to the queue */
						MOTOR_UpdateData(&MotorData, &MotorState, &SensorValues, ThermalData.TCU);
						xQueueOverwrite(MotorDataQueueHandle, &MotorData);
					}
					else
					{
						/* Get target and handle it */
						xQueuePeek(MotorTargetQueueHandle, &MotorTarget, 0);
						MOTOR_HandleTarget(&MotorState, &MotorTarget, &htim1);

						/* Calculate and send PWM data to the queue */
						MOTOR_CalcPWMData(&MotorState, &PWMData, SensorValues.meanVoltageDCfloat);
						xQueueOverwrite(PWMQueueHandle, &PWMData);

						/* Update motor data and send it to the queue */
						MOTOR_UpdateData(&MotorData, &MotorState, &SensorValues, ThermalData.TCU);
						xQueueOverwrite(MotorDataQueueHandle, &MotorData);
					}
				}
			}

////////////////////////////////////////////////////////////////////////////////////////////////////////////////////////////////////////
			/* Fill in temporary variables */
			glSensorValues = SensorValues;
			glProtCounters = ProtectionCounters;
			glThermalData = ThermalData;

			glMotorState = MotorState;
			glPWMData = PWMData;
			////////////////////////////////////////////////////////////////////////////////////////////////////////////////////////////////////////

			osDelayUntil(&xLastWakeTime, PERIOD_CONF_MOTOR_TASK_MS);
		}
		else
		{
			osDelay(1000);
		}
	}

  /* USER CODE END Motor */
}

void HAL_TIM_PeriodElapsedCallback(TIM_HandleTypeDef *htim)
{
  if (htim->Instance == TIM2) {
    HAL_IncTick();
  }
  /* USER CODE BEGIN Callback 1 */

	/* If TIM4 period elapsed */
  	if (htim->Instance == TIM4)
	{
  		/* Start ADC */
		SENSOR_StartADC(&glADCvalues, &hadc1, &hadc2);
	}

	/* If TIM1 period elapsed */
  	if (htim->Instance == TIM1)
	{
		MOTOR_PWMData PWMData;
		PWMData.Direction = MOTOR_FORWARD;
		PWMData.angleStep = 0;
		PWMData.amplitudeMulBy1000 = 0;
		uint16_t ccr1 = 0, ccr2 = 0, ccr3 = 0;

  		/* Receive PWM data */
  		xQueuePeekFromISR(PWMQueueHandle, &PWMData);

  		/* Calculate CCR values */
  		MOTOR_CalcCCR(&PWMData, &glSectorNumber, &gltheta1, &ccr1, &ccr2, &ccr3);

  		/* Set compare registers */
  		__HAL_TIM_SetCompare(&htim1, TIM_CHANNEL_1, ccr1);
  		__HAL_TIM_SetCompare(&htim1, TIM_CHANNEL_2, ccr2);
  		__HAL_TIM_SetCompare(&htim1, TIM_CHANNEL_3, ccr3);
	}

  /* USER CODE END Callback 1 */
}

void _Error_Handler(char *file, int line)
{
  while(1)
  {
  }
}

/************************ (C) COPYRIGHT STMicroelectronics *****END OF FILE****/
